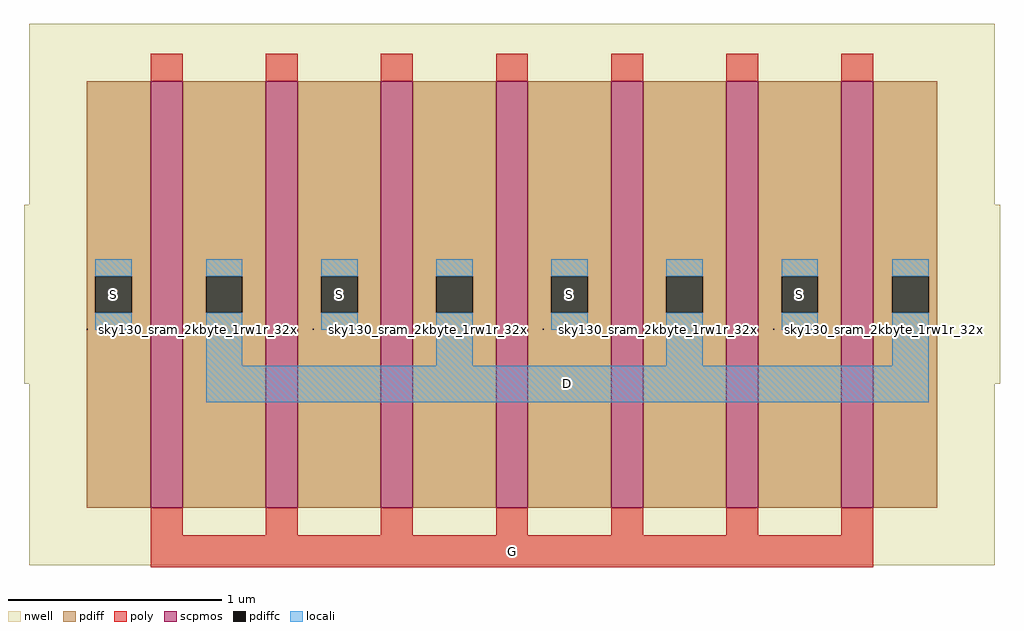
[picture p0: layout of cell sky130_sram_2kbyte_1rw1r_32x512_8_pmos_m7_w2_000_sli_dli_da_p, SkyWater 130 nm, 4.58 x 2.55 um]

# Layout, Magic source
magic
tech sky130A
magscale 1 2
<< nwell >>
rect -54 284 852 454
rect -59 116 857 284
rect -54 -54 852 116
<< scpmos >>
rect 60 0 90 400
rect 168 0 198 400
rect 276 0 306 400
rect 384 0 414 400
rect 492 0 522 400
rect 600 0 630 400
rect 708 0 738 400
<< pdiff >>
rect 0 217 60 400
rect 0 183 8 217
rect 42 183 60 217
rect 0 0 60 183
rect 90 217 168 400
rect 90 183 112 217
rect 146 183 168 217
rect 90 0 168 183
rect 198 217 276 400
rect 198 183 220 217
rect 254 183 276 217
rect 198 0 276 183
rect 306 217 384 400
rect 306 183 328 217
rect 362 183 384 217
rect 306 0 384 183
rect 414 217 492 400
rect 414 183 436 217
rect 470 183 492 217
rect 414 0 492 183
rect 522 217 600 400
rect 522 183 544 217
rect 578 183 600 217
rect 522 0 600 183
rect 630 217 708 400
rect 630 183 652 217
rect 686 183 708 217
rect 630 0 708 183
rect 738 217 798 400
rect 738 183 756 217
rect 790 183 798 217
rect 738 0 798 183
<< pdiffc >>
rect 8 183 42 217
rect 112 183 146 217
rect 220 183 254 217
rect 328 183 362 217
rect 436 183 470 217
rect 544 183 578 217
rect 652 183 686 217
rect 756 183 790 217
<< poly >>
rect 60 400 90 426
rect 168 400 198 426
rect 276 400 306 426
rect 384 400 414 426
rect 492 400 522 426
rect 600 400 630 426
rect 708 400 738 426
rect 60 -26 90 0
rect 168 -26 198 0
rect 276 -26 306 0
rect 384 -26 414 0
rect 492 -26 522 0
rect 600 -26 630 0
rect 708 -26 738 0
rect 60 -56 738 -26
<< locali >>
rect 8 217 42 233
rect 8 167 42 183
rect 112 217 146 233
rect 112 133 146 183
rect 220 217 254 233
rect 220 167 254 183
rect 328 217 362 233
rect 328 133 362 183
rect 436 217 470 233
rect 436 167 470 183
rect 544 217 578 233
rect 544 133 578 183
rect 652 217 686 233
rect 652 167 686 183
rect 756 217 790 233
rect 756 133 790 183
rect 112 99 790 133
use sky130_sram_2kbyte_1rw1r_32x512_8_contact_12  sky130_sram_2kbyte_1rw1r_32x512_8_contact_12_0
transform 1 0 748 0 1 167
box 0 0 1 1
use sky130_sram_2kbyte_1rw1r_32x512_8_contact_12  sky130_sram_2kbyte_1rw1r_32x512_8_contact_12_1
transform 1 0 644 0 1 167
box 0 0 1 1
use sky130_sram_2kbyte_1rw1r_32x512_8_contact_12  sky130_sram_2kbyte_1rw1r_32x512_8_contact_12_2
transform 1 0 536 0 1 167
box 0 0 1 1
use sky130_sram_2kbyte_1rw1r_32x512_8_contact_12  sky130_sram_2kbyte_1rw1r_32x512_8_contact_12_3
transform 1 0 428 0 1 167
box 0 0 1 1
use sky130_sram_2kbyte_1rw1r_32x512_8_contact_12  sky130_sram_2kbyte_1rw1r_32x512_8_contact_12_4
transform 1 0 320 0 1 167
box 0 0 1 1
use sky130_sram_2kbyte_1rw1r_32x512_8_contact_12  sky130_sram_2kbyte_1rw1r_32x512_8_contact_12_5
transform 1 0 212 0 1 167
box 0 0 1 1
use sky130_sram_2kbyte_1rw1r_32x512_8_contact_12  sky130_sram_2kbyte_1rw1r_32x512_8_contact_12_6
transform 1 0 104 0 1 167
box 0 0 1 1
use sky130_sram_2kbyte_1rw1r_32x512_8_contact_12  sky130_sram_2kbyte_1rw1r_32x512_8_contact_12_7
transform 1 0 0 0 1 167
box 0 0 1 1
<< labels >>
rlabel locali s 25 200 25 200 4 S
port 1 nsew
rlabel locali s 237 200 237 200 4 S
port 1 nsew
rlabel locali s 669 200 669 200 4 S
port 1 nsew
rlabel locali s 453 200 453 200 4 S
port 1 nsew
rlabel locali s 451 116 451 116 4 D
port 2 nsew
rlabel poly s 399 -41 399 -41 4 G
port 3 nsew
<< properties >>
string FIXED_BBOX -54 -56 852 116
string GDS_FILE $PDKPATH/libs.ref/sky130_sram_macros/gds/sky130_sram_2kbyte_1rw1r_32x512_8.gds
string GDS_END 51848
string GDS_START 49580
<< end >>
